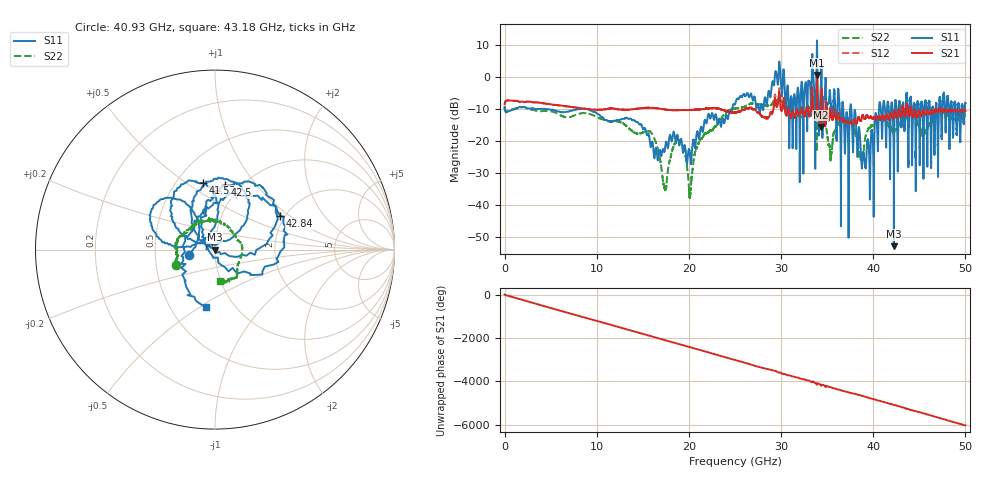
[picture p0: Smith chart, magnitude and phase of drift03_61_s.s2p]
!Created with skrf (http://scikit-rf.org).
# Hz S RI R 50.0
!freq ReS11 ImS11 ReS21 ImS21 ReS12 ImS12 ReS22 ImS22
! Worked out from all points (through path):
!   10001 points, 300 kHz to 50 GHz, reference 50 ohm
!   highest |S21| = 0.67 dB at 33.9 GHz (marker M1); lowest = -15.6 dB at 34.32 GHz (marker M2)
!   group delay of S21, straight-line fit = 335 ps
!   lowest |S11| = -52.8 dB at 42.24 GHz (marker M3), VSWR 1.00, Z = 49.8 + j0.0542 ohm
!   |S11| at or under -10 dB: 4.47 GHz to 8.189 GHz (3.719 GHz wide, 58.8 % of centre); 9.027 GHz to 24.7 GHz (15.67 GHz wide, 92.9 % of centre); 37.62 GHz to 40.62 GHz (2.998 GHz wide, 7.66 % of centre) (the widest 3 of 57)
!   |S22| runs from -37.8 to -5.9 dB; largest |S21 - S12| = 0.11
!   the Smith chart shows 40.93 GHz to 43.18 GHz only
!   S11 on the Smith chart (normalised r, x): 40.93 GHz: 0.74, -0.04; 41.53 GHz: 0.67, +0.58; 42.5 GHz: 0.85, +0.71; 42.84 GHz: 1.90, +0.85; 43.18 GHz: 0.74, -0.53
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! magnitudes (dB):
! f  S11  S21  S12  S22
! 300 kHz  -9.3  -8.5  -8.5  -9.3
! 8.335 GHz  -9.8  -9.7  -9.8  -11.3
! 16.67 GHz  -25.5  -9.8  -9.8  -23.1
! 17.4 GHz  -22.4  -10.1  -10.1  -35.1
! 19.09 GHz  -19.6  -10.3  -10.3  -20.1
! 20.13 GHz  -24.4  -10.3  -10.3  -36.8
! 21.19 GHz  -17.8  -10.1  -10.1  -19.8
! 25 GHz  -8.5  -11.1  -11.1  -9.8
! 33.34 GHz  0.4  -7.5  -7.6  -9.4
! 33.9 GHz  11.4  0.7  0.2  -23.3
! 34.32 GHz  -2.9  -15.6  -14.9  -11.2
! 35.33 GHz  -5.3  -10.2  -9.6  -24.1
! 37 GHz  -16.8  -13.9  -14.0  -13.4
! 38.97 GHz  -24.4  -12.5  -12.6  -23.2
! 40.93 GHz  -16.5  -12.5  -12.5  -12.7
! 41.53 GHz  -8.4  -12.3  -12.3  -14.7
! 41.67 GHz  -9.5  -13.3  -13.2  -14.8
! 42.24 GHz  -52.8  -11.4  -11.4  -17.6
! 42.5 GHz  -8.7  -12.5  -12.6  -16.3
! 42.84 GHz  -7.8  -11.3  -11.2  -14.2
! 43.18 GHz  -9.7  -9.4  -9.3  -14.9
! 50 GHz  -8.1  -10.6  -10.6  -12.2
